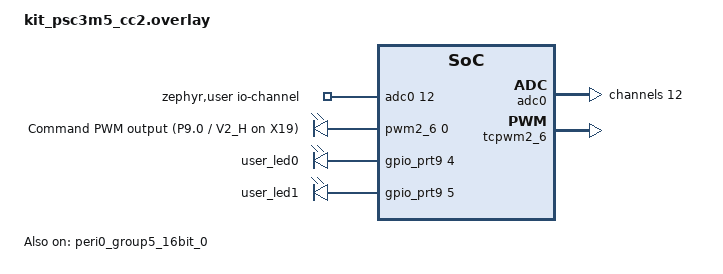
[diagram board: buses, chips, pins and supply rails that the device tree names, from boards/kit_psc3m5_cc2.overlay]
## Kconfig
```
# SPDX-License-Identifier: Apache-2.0
#
# PSOC Control CAN Command & Telemetry lab - node role select.
#
# Which role this build takes on is chosen by the EXTRA_CONF_FILE passed to
# `west build` (conf/role_command.conf or conf/role_telemetry.conf), not by
# editing this file directly.

mainmenu "PSOC Control CAN Command & Telemetry Lab"

choice LAB_ROLE
	prompt "CAN lab node role"
	default LAB_ROLE_COMMAND
	help
	  Board A ("Command node") reads the onboard potentiometer and
	  transmits the resulting setpoint over CAN. Board B ("Telemetry
	  node") receives the setpoint over CAN and mirrors it on its own
	  LED. Both roles run from the same skeleton; only the role Kconfig
	  fragment differs at build time.

config LAB_ROLE_COMMAND
	bool "Command node (potentiometer -> local LED + CAN TX)"

config LAB_ROLE_TELEMETRY
	bool "Telemetry node (CAN RX -> LED mirror)"

endchoice

source "Kconfig.zephyr"
```

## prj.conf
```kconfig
# SPDX-License-Identifier: Apache-2.0
#
# Baseline config - already enabled for you. You do not need to edit
# anything above the TODO line.

CONFIG_GPIO=y
CONFIG_CONSOLE=y
CONFIG_PRINTK=y
CONFIG_LOG=y
CONFIG_LOG_DEFAULT_LEVEL=3

# Give the CAN/ADC/PWM init and soft-PWM thread a little more stack margin.
CONFIG_MAIN_STACK_SIZE=2048

# CAN is already enabled here (not a touchpoint): the board's devicetree
# already turns the CAN controller on by default, and CAN is what makes the
# two boards talk to each other at all, so it's part of the working
# baseline you build on - not something you need to discover.
#
# Note that this skeleton will NOT build until you have completed Step 1
# (the devicetree overlay) and Step 2 (below). That is deliberate - you'll
# get a clear #error telling you which step is outstanding. To check your
# board, wiring and toolchain before you start, flash the pre-built
# reference binary your instructor provides.
CONFIG_CAN=y

# The onboard TLE9251V CAN transceiver's standby pin (P7.6) is modelled as a
# can-transceiver-gpio node in the board overlay. The Infineon GPIO driver
# initialises at CONFIG_KERNEL_INIT_PRIORITY_DEVICE (50) rather than the usual
# CONFIG_GPIO_INIT_PRIORITY (40), so the transceiver's default priority of 45
# would run before its own GPIO port is ready. Move it after the GPIO driver
# but still before the CAN controller (CONFIG_CAN_INIT_PRIORITY=80).
CONFIG_CAN_TRANSCEIVER_INIT_PRIORITY=55

# --------------------------------------------------------------------------
# TODO 2 (Module import touchpoint)
#
# This lab needs two more driver subsystems that are NOT enabled by
# default: the ADC subsystem (to read the onboard potentiometer) and the
# PWM subsystem (to drive the brightness/command output on mikroBUS 1).
# Uncomment the two lines below.
#
# Docs: every CONFIG_ symbol in the tree is searchable here - type ADC or
# PWM into the search box to see what each one turns on and what it
# depends on:
#   https://docs.zephyrproject.org/latest/kconfig.html
# How the build system uses these files:
#   https://docs.zephyrproject.org/latest/build/kconfig/index.html
# --------------------------------------------------------------------------

CONFIG_ADC=y
CONFIG_PWM=y
```

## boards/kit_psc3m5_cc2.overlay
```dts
/*
 * SPDX-License-Identifier: Apache-2.0
 *
 * PSOC Control CAN Command & Telemetry lab - devicetree overlay
 * (skeleton) for KIT_PSC3M5_CC2, the MCU card fitted to the
 * KIT_PSC3M5_MC1 motor-control kit.
 *
 * This overlay is shared by both roles (Command node and Telemetry node) -
 * the physical board is identical either way, only the application code
 * built on top of it differs.
 *
 * ---------------------------------------------------------------------
 * SAFETY - read this before running the lab on KIT_PSC3M5_CC2
 * ---------------------------------------------------------------------
 * The PWM output you enable in TODO 1c is on P9.0, which is schematic net
 * V2_H: the motor 2, phase V, high-side gate drive, brought out on Power
 * Board Connector X19. With no power board attached, X19 is just an access
 * header and the pin is safe to drive and to probe.
 *
 * NEVER run this lab with a motor-control power board fitted. The lab
 * would be commanding a gate driver.
 *
 * CAN is already enabled by default in this board's base devicetree
 * (kit_psc3m5_cc2-common.dtsi enables can1, and `zephyr,canbus` is already
 * chosen). This board also needs no CAN transceiver node at all - see the
 * note at the end of this file, which is worth reading. Your two devicetree
 * touchpoints in this lab are:
 *
 *   TODO 1a/1b: enable the onboard potentiometer's ADC channel.
 *   TODO 1c:    enable the PWM output used for the brightness command
 *               signal (pin P9.0, on connector X19).
 *
 * Reference: tests/drivers/adc/adc_api/boards/kit_psc3m5_cc2.overlay in the
 * Zephyr tree shows this board's ADC channels fully enabled, and the overlays
 * under samples/basic/fade_led/boards/ show how a PWM output is wired up on
 * other boards, if you get stuck.
 *
 * Docs: what an overlay is and why it exists
 *   https://docs.zephyrproject.org/latest/build/dts/intro.html
 * Every property you can legally set on a node is defined by its binding,
 * and all of the in-tree bindings are published here - searching this page
 * for a `compatible` string is the fastest way to answer "what goes in
 * this node?":
 *   https://docs.zephyrproject.org/latest/build/dts/api/bindings.html
 */

#include <zephyr/dt-bindings/adc/adc.h>
#include <zephyr/dt-bindings/gpio/gpio.h>
#include <zephyr/dt-bindings/pwm/pwm.h>
#include <zephyr/dt-bindings/pwm/pwm_ifx_tcpwm.h>

/ {
	/*
	 * TODO 1a: Uncomment the io-channels property below so the
	 * application can request the potentiometer channel by name. POT1 is
	 * wired to HPPASS SAR ADC channel 12 (this is "CYBSP_POT" in the
	 * ModusToolbox BSP for this board). The second pot, POT2, is on
	 * channel 16 and is not used by this lab.
	 *
	 * Docs: how `io-channels` ties an application to an ADC channel, and
	 * what ADC_DT_SPEC_GET() does with it:
	 *   https://docs.zephyrproject.org/latest/hardware/peripherals/adc.html
	 */
	zephyr,user {
		io-channels = <&adc0 12>;
	};

	aliases {
		/*
		 * TODO 1c (cont'd): alias the PWM LED node below so the
		 * application's DT_ALIAS(cmd_pwm) resolves.
		 */
		cmd-pwm = &pwm_cmd;
	};

	/*
	 * This PWM does not reach an on-board LED on this board. The user
	 * LEDs are on P9.4/P9.5, whose only non-GPIO routes are SCB0 SPI
	 * selects, so there is no TCPWM path to them. Probe P9.0 on X19, or
	 * hang a 2-pin LED harness off it. The on-board LED in this lab is
	 * driven by software PWM instead.
	 */
	pwmleds {
		compatible = "pwm-leds";

		pwm_cmd: pwm_cmd_led {
			label = "Command PWM output (P9.0 / V2_H on X19)";
			pwms = <&pwm2_6 0 PWM_USEC(1000) PWM_POLARITY_NORMAL>;
		};
	};
};

/*
 * PROVIDED - not a TODO, nothing to uncomment here.
 *
 * The board devicetree declares both user LEDs GPIO_ACTIVE_LOW. On the
 * KIT_PSC3M5_CC2 cards used for this lab they light on a HIGH output, so
 * every logical "on" reached the LED as "off". The visible symptom was the
 * brightness LED tracking the knob backwards and sitting lit with the knob
 * at zero.
 *
 * Correcting the polarity here rather than compensating in C keeps
 * gpio_pin_set_dt(..., 1) meaning "lit" everywhere in the application, and
 * fixes the CAN activity LED at the same time.
 */
&user_led0 {
	gpios = <&gpio_prt9 4 GPIO_ACTIVE_HIGH>;
};

&user_led1 {
	gpios = <&gpio_prt9 5 GPIO_ACTIVE_HIGH>;
};

&adc0 {
	/*
	 * TODO 1a (cont'd): enable the HPPASS SAR ADC controller itself.
	 */
	status = "okay";
	#address-cells = <1>;
	#size-cells = <0>;

	/*
	 * TODO 1b: describe ADC channel 12 (12-bit resolution, internal
	 * reference, default acquisition time). Uncomment the block below.
	 *
	 * Docs: the `zephyr,gain` / `zephyr,reference` / `zephyr,resolution`
	 * properties are generic ADC channel properties, explained here:
	 *   https://docs.zephyrproject.org/latest/hardware/peripherals/adc.html
	 */
	channel@c {
		reg = <12>;
		zephyr,acquisition-time = <ADC_ACQ_TIME_DEFAULT>;
		zephyr,gain = "ADC_GAIN_1";
		zephyr,reference = "ADC_REF_INTERNAL";
		zephyr,resolution = <12>;
	};
};

&tcpwm2_6 {
	/*
	 * TODO 1c (cont'd): enable this TCPWM instance and its pwm2_6
	 * child, and route it out to pin P9.0 (connector X19).
	 *
	 * P9.0 was chosen because it is one of the few free pins on this
	 * board with a direct TCPWM route - P9_0_TCPWM0_LINE518 is HSIOM
	 * option 10, so no PERI trigger mux is needed. The obvious
	 * alternative, the mikroBUS PWM pin (P0.1), has no TCPWM option at
	 * all.
	 *
	 * Docs: the PWM subsystem and its devicetree model
	 *   https://docs.zephyrproject.org/latest/hardware/peripherals/pwm.html
	 */
	status = "okay";

	pwm2_6: pwm2_6 {
		status = "okay";
		clocks = <&peri0_group5_16bit_0>;
		pinctrl-0 = <&p9_0_pwm2_6>;
		pinctrl-names = "default";
	};
};

/*
 * Provided for you - not a lab task.
 *
 * tcpwm2_6 sits in peripheral group 5. The divider is shared with &csg0,
 * which the board dtsi sets to 2.
 *
 * 240 divides the 240 MHz peripheral clock to a 1 MHz counter, giving the
 * 1 kHz PWM above exactly 1000 brightness steps.
 *
 * This replaces an earlier 9600 (25 kHz counter, 50 Hz PWM). 50 Hz was slow
 * enough to see: measured on hardware 2026-10-02, the output flashed brightly
 * whenever the duty cycle changed quickly, because one disturbed period lasts
 * a full 20 ms. The TCPWM itself was cleared of blame first - CC0 and CC0_BUFF
 * tracked every request exactly and the counter was never restarted - so the
 * fix is the frequency, not the driver. At 1 kHz the same fade is smooth. */
&peri0_group5_16bit_0 {
	status = "okay";
	clock-div = <240>;
};

&pinctrl {
	p9_0_pwm2_6: p9_0_pwm2_6 {
		drive-push-pull;
	};
};

/* P9.0 (the PWM output) and P9.4/P9.5 (the user LEDs). */
&gpio_prt9 {
	status = "okay";
};

/*
 * Provided for you - not a lab task, but worth understanding.
 *
 * There is deliberately no `phys` property on &can1 and no transceiver node
 * anywhere in this file. That is a property of this board, not an omission.
 *
 * The CAN front end here is galvanically isolated, so the signal passes
 * through one more link than it would on a non-isolated board:
 *
 *   P6.3 CAN1_TX --> INA  ==||== OUTA --> TXD --+ TLE9371VSJ +-- CANH
 *   P6.2 CAN1_RX <-- OUTB ==||== INB  <-- RXD --+  STB = GND +-- CANL
 *                     2DIB1400F
 *                  dual digital isolator
 *
 * The TLE9371VSJ STB (standby) pin is tied directly to the isolated ground.
 * STB is active high, so the transceiver is permanently in normal mode and
 * there is nothing for software to enable. Adding a can-transceiver-gpio
 * node here would be describing hardware that does not exist.
 *
 * On many other boards the same transceiver part has its STB pin wired to a
 * GPIO with an internal pull-up and nothing releasing it. Those boards do
 * need a can-transceiver-gpio node - without one they go bus-off about a
 * millisecond after boot, with the error counters still reading zero. Same
 * silicon, same driver, different overlay: this is why devicetree describes
 * the board rather than the chip.
 */
```

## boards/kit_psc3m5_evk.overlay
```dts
/*
 * SPDX-License-Identifier: Apache-2.0
 *
 * PSOC Control CAN Command & Telemetry lab - devicetree overlay
 * (skeleton).
 *
 * This overlay is shared by both roles (Command node and Telemetry node) -
 * the physical board is identical either way, only the application code
 * built on top of it differs.
 *
 * CAN is already enabled by default in this board's base devicetree
 * (kit_psc3m5_evk-common.dtsi enables canfd0/can1, and `zephyr,canbus` is
 * already chosen). The `can_phy` node below is provided for you - it works
 * around a gap in the board support package (see the comment on that node).
 * Your two devicetree touchpoints in this lab are:
 *
 *   TODO 1a/1b: enable the onboard potentiometer's ADC channel.
 *   TODO 1c:    enable the PWM output used for the brightness command
 *               signal (mikroBUS header 1 / pin P4.0).
 *
 * Reference: samples/drivers/adc/adc_dt/boards/kit_psc3m5_evk.overlay and
 * samples/basic/fade_led/boards/kit_psc3m5_evk.overlay in the ifx-zephyr
 * tree show the same nodes fully enabled, if you get stuck.
 *
 * Docs: what an overlay is and why it exists
 *   https://docs.zephyrproject.org/latest/build/dts/intro.html
 * Every property you can legally set on a node is defined by its binding,
 * and all of the in-tree bindings are published here - searching this page
 * for a `compatible` string is the fastest way to answer "what goes in
 * this node?":
 *   https://docs.zephyrproject.org/latest/build/dts/api/bindings.html
 */

#include <zephyr/dt-bindings/adc/adc.h>
#include <zephyr/dt-bindings/gpio/gpio.h>
#include <zephyr/dt-bindings/pwm/pwm.h>
#include <zephyr/dt-bindings/pwm/pwm_ifx_tcpwm.h>

/ {
	/*
	 * TODO 1a: Uncomment the io-channels property below so the
	 * application can request the potentiometer channel by name. The
	 * onboard potentiometer is wired to HPPASS SAR ADC channel 12
	 * (this is "CYBSP_POT" in the ModusToolbox BSP for this board).
	 *
	 * Docs: how `io-channels` ties an application to an ADC channel, and
	 * what ADC_DT_SPEC_GET() does with it:
	 *   https://docs.zephyrproject.org/latest/hardware/peripherals/adc.html
	 */
	zephyr,user {
		io-channels = <&adc0 12>;
	};

	aliases {
		/*
		 * TODO 1c (cont'd): alias the PWM LED node below so the
		 * application's DT_ALIAS(cmd_pwm) resolves.
		 */
		cmd-pwm = &pwm_cmd;
	};

	/*
	 * Provided for you - not a lab task.
	 *
	 * The CAN screw terminals are fed by an onboard TLE9251VLEXUMA1
	 * transceiver whose STB (standby) pin is on P7.6. STB has an internal
	 * pull-up, so the transceiver powers up in STANDBY with its
	 * transmitter disabled - the node cannot even acknowledge frames.
	 * The upstream board devicetree does not model the transceiver, so
	 * without this node nothing releases STB, every transmission goes
	 * unacknowledged, and the controller is driven bus-off within about
	 * a millisecond (can_send() returns -ENETUNREACH).
	 *
	 * Modelling it here lets Zephyr's CAN core drive STB low on
	 * can_start() and release it on can_stop().
	 */
	can_phy: can-phy {
		compatible = "can-transceiver-gpio";
		standby-gpios = <&gpio_prt7 6 GPIO_ACTIVE_HIGH>;
		max-bitrate = <5000000>;
		#phy-cells = <0>;
	};

	pwmleds {
		compatible = "pwm-leds";

		pwm_cmd: pwm_cmd_led {
			label = "Command PWM output (mikroBUS 1 / P4.0)";
			pwms = <&pwm1_4 0 PWM_USEC(1000) PWM_POLARITY_NORMAL>;
		};
	};
};

&adc0 {
	/*
	 * TODO 1a (cont'd): enable the HPPASS SAR ADC controller itself.
	 */
	status = "okay";
	#address-cells = <1>;
	#size-cells = <0>;

	/*
	 * TODO 1b: describe ADC channel 12 (12-bit resolution, internal
	 * reference, default acquisition time). Uncomment the block below.
	 *
	 * Docs: the `zephyr,gain` / `zephyr,reference` / `zephyr,resolution`
	 * properties are generic ADC channel properties, explained here:
	 *   https://docs.zephyrproject.org/latest/hardware/peripherals/adc.html
	 */
	channel@c {
		reg = <12>;
		zephyr,acquisition-time = <ADC_ACQ_TIME_DEFAULT>;
		zephyr,gain = "ADC_GAIN_1";
		zephyr,reference = "ADC_REF_INTERNAL";
		zephyr,resolution = <12>;
	};
};

&tcpwm1_4 {
	/*
	 * TODO 1c (cont'd): enable this TCPWM instance and its pwm1_4
	 * child, and route it out to pin P4.0 (mikroBUS header 1).
	 *
	 * Docs: the PWM subsystem and its devicetree model
	 *   https://docs.zephyrproject.org/latest/hardware/peripherals/pwm.html
	 */
	status = "okay";

	pwm1_4: pwm1_4 {
		status = "okay";
		clocks = <&peri0_group5_16bit_0>;
		pinctrl-0 = <&p4_0_pwm1_4>;
		pinctrl-names = "default";
	};
};

/*
 * The divider is shared with &csg0, which the board dtsi sets to 2. 240
 * divides the 240 MHz peripheral clock to a 1 MHz counter, giving the 1 kHz
 * PWM above exactly 1000 brightness steps.
 *
 * This replaces an earlier 9600 (25 kHz counter, 50 Hz PWM). 50 Hz was slow
 * enough to see: measured on KIT_PSC3M5_CC2 2026-10-02, the output flashed
 * brightly whenever the duty cycle changed quickly, because one disturbed
 * period lasts a full 20 ms. The TCPWM itself was cleared of blame first -
 * CC0 and CC0_BUFF tracked every request exactly and the counter was never
 * restarted - so the fix is the frequency, not the driver. Both boards use
 * the same group 5 divider, so both carry the same change.
 */
&peri0_group5_16bit_0 {	status = "okay";
	clock-div = <240>;
};

&pinctrl {
	p4_0_pwm1_4: p4_0_pwm1_4 {
		drive-push-pull;
	};
};

&gpio_prt4 {
	status = "okay";
};

/* Required so the transceiver's STB pin (P7.6) can be driven. */
&gpio_prt7 {
	status = "okay";
};

&can1 {
	phys = <&can_phy>;
};
```

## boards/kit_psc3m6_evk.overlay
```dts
/*
 * SPDX-License-Identifier: Apache-2.0
 *
 * PSOC Control CAN Command & Telemetry lab - devicetree overlay
 * (skeleton) for KIT_PSC3M6_EVAL (PSOC Control C3M6 Evaluation Kit).
 *
 * This overlay is shared by both roles (Command node and Telemetry node) -
 * the physical board is identical either way, only the application code
 * built on top of it differs.
 *
 * The board devicetree already describes the hardware this lab drives:
 *
 *   - CAN FD on canfd0/can1 (P5.2 RX, P5.3 TX), with a can-transceiver-gpio
 *     node (can_phy0, standby on P12.5) and `zephyr,canbus` already chosen.
 *     Nothing in this file touches CAN.
 *   - The on-board potentiometer as SAR ADC channel 12 on AN_B4, including
 *     gain, reference, resolution and acquisition time.
 *   - A hardware PWM output on P5.0 (tcpwm0_6 / pwm0_6), with its peripheral
 *     clock divider and push-pull pinctrl.
 *
 * Your job is to nominate which of those this application consumes. A board
 * describes what exists; an overlay says what your application uses.
 *
 *   TODO 1a: claim the potentiometer's ADC channel for the application.
 *   TODO 1b: expose the PWM output as something the application can open
 *            by name.
 *
 * Reference: the overlays under samples/basic/fade_led/boards/ in the Zephyr
 * tree show how a PWM output is named and consumed on other boards, and
 * tests/drivers/adc/adc_api/boards/ shows ADC channels being claimed.
 *
 * Docs: what an overlay is and why it exists
 *   https://docs.zephyrproject.org/latest/build/dts/intro.html
 * Every property you can legally set on a node is defined by its binding,
 * and all of the in-tree bindings are published here - searching this page
 * for a `compatible` string is the fastest way to answer "what goes in
 * this node?":
 *   https://docs.zephyrproject.org/latest/build/dts/api/bindings.html
 */

#include <zephyr/dt-bindings/pwm/pwm.h>

/ {
	/*
	 * TODO 1a: Uncomment the io-channels property below so the
	 * application can request the potentiometer channel by name. The pot
	 * is SAR ADC channel 12, on AN_B4 - the first input of mux sampler 0.
	 *
	 * Docs: how `io-channels` ties an application to an ADC channel, and
	 * what ADC_DT_SPEC_GET() does with it:
	 *   https://docs.zephyrproject.org/latest/hardware/peripherals/adc.html
	 */
	zephyr,user {
		io-channels = <&adc0 12>;
	};

	aliases {
		/*
		 * TODO 1b (cont'd): alias the PWM LED node below so the
		 * application's DT_ALIAS(cmd_pwm) resolves.
		 */
		cmd-pwm = &pwm_cmd;
	};

	/*
	 * The output is P5.0, brought out on header J21 pin 11, next to the
	 * CAN pins (P5.2/P5.3). It is an ordinary signal pin, safe to probe
	 * or to drive a 2-pin LED harness (GND is on J21 pin 2).
	 *
	 * The on-board LED this lab mirrors the setpoint on is driven
	 * separately, in software - the user LEDs on P8.4/P8.5 have no TCPWM
	 * route in this package.
	 */
	pwmleds {
		compatible = "pwm-leds";

		pwm_cmd: pwm_cmd_led {
			label = "Command PWM output (P5.0)";
			pwms = <&pwm0_6 0 PWM_USEC(1000) PWM_POLARITY_NORMAL>;
		};
	};
};
```

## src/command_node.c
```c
/*
 * SPDX-License-Identifier: Apache-2.0
 *
 * PSOC Control CAN Command & Telemetry lab - Board A "Command node".
 *
 * Reads the on-board potentiometer, turns it into a 0-255 setpoint, shows
 * that setpoint locally as LED brightness, and transmits it over CAN so the
 * paired "Telemetry node" board can mirror it.
 *
 * CHEAT TIER. This is can-lab-advanced/ with every TODO already filled
 * in. The TODO comments are left in place so each instruction sits next
 * to its answer - so this still reads as a lab, not just as source.
 *
 * Use it if you are blocking your partner and would rather read working
 * code than write it, or to check your own work against. Read the TODO
 * above each block before the code under it; that ordering is the point.
 *
 * A note on style: this lab deliberately omits return-code checks on calls
 * that cannot realistically fail on a known-good board (can_set_bitrate(),
 * can_set_mode(), can_start()), so the code stays readable inside a
 * 60-minute session. The checks that are kept are the ones that catch real
 * mistakes: device_is_ready(), and the can_send() result - which is how you
 * find out the other board is not wired up yet. The reference solution
 * checks every call, and that is the pattern to use in production code.
 *
 * Where these APIs come from
 * --------------------------
 * Every driver call below is part of a published, versioned Zephyr API, and
 * it is worth knowing that the docs show you two different views of it:
 *
 *   What you call        The functions and structs your application uses -
 *                        can_send(), struct can_frame, and so on:
 *                        https://docs.zephyrproject.org/latest/doxygen/html/group__can__interface.html
 *
 *   What a driver        The table of function pointers each vendor driver
 *   implements           fills in behind those calls:
 *                        https://docs.zephyrproject.org/latest/doxygen/html/structcan__driver__api.html
 *
 * That split is the whole point: your can_send() works against the PSOC
 * Control CAN FD controller here, and unchanged against any other Zephyr
 * target, because the application talks to the generic API and the vendor
 * driver supplies the implementation. Swapping silicon does not rewrite
 * this file.
 *
 * Each TODO below ends with a "Docs:" line pointing at the page for the
 * calls that step needs.
 */

#include <zephyr/kernel.h>
#include <zephyr/device.h>
#include <zephyr/devicetree.h>
#include <zephyr/drivers/gpio.h>
#include <zephyr/drivers/adc.h>
#include <zephyr/drivers/can.h>
#include <zephyr/logging/log.h>

#include "can_protocol.h"
#include "lab_led.h"

LOG_MODULE_REGISTER(command_node, LOG_LEVEL_INF);

#define SAMPLE_PERIOD_MS 50
#define CAN_BITRATE      500000

#if !DT_NODE_HAS_PROP(DT_PATH(zephyr_user), io_channels)
#error "No ADC channel on /zephyr,user. Complete Step 1 (your board's overlay in boards/, TODO 1a) before building - see the lab guide."
#endif

/* Alias led1 - P8.5, silkscreen LED4, blue - the bus-state indicator.
 *
 * Lit means the CAN controller is no longer error-active: either
 * error-passive or bus-off. That makes the lab's central failure mode
 * physical - a node alone on the bus lands here within a second or two,
 * and the LED says so without the console. Note the board silkscreen
 * counts from one while the devicetree aliases count from zero. Provided.
 */
static const struct gpio_dt_spec bus_led = GPIO_DT_SPEC_GET(DT_ALIAS(led1), gpios);

/* Provided. Runs in driver context, so it does nothing but set a pin. */
static void bus_state_cb(const struct device *dev, enum can_state state,
			 struct can_bus_err_cnt err_cnt, void *user_data)
{
	ARG_UNUSED(dev);
	ARG_UNUSED(err_cnt);
	ARG_UNUSED(user_data);

	gpio_pin_set_dt(&bus_led, state == CAN_STATE_ERROR_ACTIVE ? 1 : 0);
}

/* The potentiometer's ADC channel, described by the overlay you edited in
 * Step 1. Provided.
 */
static const struct adc_dt_spec pot_adc = ADC_DT_SPEC_GET(DT_PATH(zephyr_user));

/* The CAN controller, picked up from the board's `zephyr,canbus` chosen
 * node. Provided.
 */
static const struct device *const can_dev = DEVICE_DT_GET(DT_CHOSEN(zephyr_canbus));

static uint8_t read_setpoint(void)
{
	int16_t sample = 0;
	struct adc_sequence seq = {
		.buffer = &sample,
		.buffer_size = sizeof(sample),
	};

	/* Fill in the rest of `seq` (resolution, channel mask, ...) from the
	 * devicetree description. Provided.
	 */
	(void)adc_sequence_init_dt(&pot_adc, &seq);

	/*
	 * TODO 3b: take one reading from the potentiometer and turn it into
	 * a 0-255 setpoint.
	 *
	 *   1. Read a single sample with the ADC read call that takes a
	 *      devicetree spec and a sequence - pot_adc and the seq you just
	 *      initialised. It returns 0 on success; if it fails, return 128
	 *      so the LED sits at mid-scale rather than going dark.
	 *   2. The result lands in `sample` as a 12-bit value (0-4095).
	 *      Scale it down to 8 bits (0-255) and return it.
	 *
	 * Hint for the scaling: 12 bits is 4 more bits than 8 bits, and
	 * shifting a value right by one bit halves it.
	 *
	 * Docs: adc_read_dt() and friends
	 *   https://docs.zephyrproject.org/latest/doxygen/html/group__adc__interface.html
	 * The `seq` struct filled in above:
	 *   https://docs.zephyrproject.org/latest/doxygen/html/structadc__sequence.html
	 */

	if (adc_read_dt(&pot_adc, &seq) != 0) {
		return 128;
	}

	return (uint8_t)(sample >> 4);
}

/*
 * Handed to can_send() so that transmission is fire-and-forget. We do not
 * need the result here, but passing *something* matters: with a NULL
 * callback, can_send() blocks until the frame is acknowledged, and a node
 * that is alone on the bus is never acknowledged - the application would
 * deadlock on the very first send. Provided.
 */
static void tx_done_cb(const struct device *dev, int error, void *user_data)
{
	ARG_UNUSED(dev);
	ARG_UNUSED(error);
	ARG_UNUSED(user_data);
}

static void send_setpoint(uint8_t setpoint)
{
	/*
	 * TODO 3c: put `setpoint` on the wire.
	 *
	 *   1. Declare a `struct can_frame` and fill in three fields: the
	 *      frame ID and the data length code both come from
	 *      can_protocol.h (CAN_ID_SETPOINT and CAN_DLC_SETPOINT), and
	 *      the setpoint itself goes in the first data byte.
	 *   2. Transmit it with the CAN send call. It takes the device, your
	 *      frame, a timeout, a completion callback and a user-data
	 *      pointer. Pass K_NO_WAIT for the timeout, tx_done_cb - the
	 *      empty function provided just above - for the callback, and
	 *      NULL for the user data.
	 *
	 *      Do NOT pass NULL in place of the callback: a NULL callback
	 *      makes the send wait until somebody acknowledges the frame,
	 *      and nobody will until your partner's board is wired up - the
	 *      program would stop dead right here.
	 *   3. The send call returns non-zero when the frame could not be
	 *      queued, normally because the second board is not powered or
	 *      wired yet. Warn on that - but only when the state *changes*.
	 *      This function runs 20 times a second, so an unconditional
	 *      LOG_WRN buries everything else in the console. A
	 *      `static bool warned;` is all you need: warn on the first
	 *      failure, and log recovery on the first success afterwards.
	 *
	 * Docs: can_send() and the rest of the CAN API
	 *   https://docs.zephyrproject.org/latest/doxygen/html/group__can__interface.html
	 * The frame you are filling in, field by field:
	 *   https://docs.zephyrproject.org/latest/doxygen/html/structcan__frame.html
	 */
	struct can_frame frame = {
		.id = CAN_ID_SETPOINT,
		.dlc = CAN_DLC_SETPOINT,
		.data = {setpoint},
	};

	static bool warned;

	if (can_send(can_dev, &frame, K_NO_WAIT, tx_done_cb, NULL) != 0) {
		if (!warned) {
			warned = true;
			LOG_WRN("CAN send failed - is the second board powered and wired?");
		}
	} else if (warned) {
		warned = false;
		LOG_INF("CAN send recovered - partner board is on the bus");
	}
}

void run_command_node(void)
{
	LOG_INF("Command node starting (PSOC Control CAN lab)");

	/* Provided: the bus-state LED and the brightness output. */
	gpio_pin_configure_dt(&bus_led, GPIO_OUTPUT_INACTIVE);
	lab_led_init();

	/*
	 * TODO 3a: bring up the CAN controller. Five calls, in this order:
	 *
	 *   1. Check the driver initialised, using the generic
	 *      device_is_ready() helper with the CAN device handle can_dev.
	 *      It returns false if the driver did not come up - log an error
	 *      with LOG_ERR() and return if so.
	 *   2. Set the bitrate to CAN_BITRATE.
	 *   3. Set the mode to CAN_MODE_NORMAL.
	 *   4. Register bus_state_cb (declared above) as the state-change
	 *      callback, passing NULL as its user data. This must come before
	 *      the controller starts, so that the very first transition out
	 *      of error-active is reported.
	 *   5. Start the controller.
	 *
	 * Steps 2-5 are four separate CAN API calls, each taking can_dev as
	 * their first argument. Find their names in the docs below.
	 *
	 * Both boards must use the same bitrate or they will not talk to
	 * each other.
	 *
	 * Docs: can_set_bitrate(), can_set_mode(),
	 *       can_set_state_change_callback(), can_start()
	 *   https://docs.zephyrproject.org/latest/doxygen/html/group__can__interface.html
	 * What a CAN controller is doing underneath:
	 *   https://docs.zephyrproject.org/latest/hardware/peripherals/can/controller.html
	 */

	if (!device_is_ready(can_dev)) {
		LOG_ERR("CAN device not ready");
		return;
	}

	can_set_bitrate(can_dev, CAN_BITRATE);
	can_set_mode(can_dev, CAN_MODE_NORMAL);
	can_set_state_change_callback(can_dev, bus_state_cb, NULL);
	can_start(can_dev);

	/* Provided: the state-change callback only fires on a transition,
	 * and starting on a healthy bus is not one, so seed the LED from
	 * the current state. This runs after your TODO 3a code.
	 */
	{
		enum can_state state = CAN_STATE_ERROR_ACTIVE;

		(void)can_get_state(can_dev, &state, NULL);
		gpio_pin_set_dt(&bus_led, state == CAN_STATE_ERROR_ACTIVE ? 1 : 0);
	}


	/*
	 * TODO 3d: the ADC channel needs configuring once before it can be
	 * read. One call - the devicetree-spec form of the ADC channel setup
	 * function, passing the pot_adc spec declared at the top of this
	 * file. It belongs here, before the loop, not inside it.
	 *
	 * Docs: adc_channel_setup_dt() takes the `struct adc_dt_spec` that
	 * ADC_DT_SPEC_GET() built from your overlay:
	 *   https://docs.zephyrproject.org/latest/doxygen/html/structadc__dt__spec.html
	 *   https://docs.zephyrproject.org/latest/doxygen/html/group__adc__interface.html
	 */

	adc_channel_setup_dt(&pot_adc);

	while (1) {
		uint8_t setpoint = read_setpoint();

		/* Print the setpoint about twice a second. Until TODO 3b is
		 * done this stays pinned at 128, which is a quick way to
		 * check whether your ADC code is working. Provided.
		 */
		static uint32_t tick;

		if ((tick++ % (500U / SAMPLE_PERIOD_MS)) == 0U) {
			LOG_INF("setpoint %3u (%u%%)", setpoint,
				(setpoint * 100U) / 255U);
		}

		/* Local brightness feedback, so you can see the knob working
		 * before CAN is involved at all.
		 */
		lab_led_set_duty(setpoint);

		send_setpoint(setpoint);

		k_msleep(SAMPLE_PERIOD_MS);
	}
}
```

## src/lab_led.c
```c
/*
 * SPDX-License-Identifier: Apache-2.0
 *
 * PSOC Control CAN Command & Telemetry lab - brightness output.
 *
 * PROVIDED HELPER - not a lab touchpoint. Your code calls lab_led_init()
 * once and lab_led_set_duty() whenever the setpoint changes; you do not
 * need to read or change anything in this file.
 *
 * One duty value, two outputs:
 *
 *   1. The user LED on P8.4 - silkscreen LED3, yellow, devicetree alias
 *      led0 - bit-banged from a dedicated thread. Neither on-board user
 *      LED has a TCPWM option in its HSIOM pin-mux table, so a real PWM
 *      signal cannot be routed to them directly - hence the software PWM.
 *   2. The hardware PWM channel on P5.0, brought out on header J21 pin 11.
 *      Nothing on the board lights up from this one, but the signal is
 *      genuinely there if you want to put a scope on it. This is why the
 *      lab has you enable the PWM nodes in devicetree and CONFIG_PWM in
 *      prj.conf.
 *
 * Implementation note, in case you are curious: the ON pulse is timed with
 * k_busy_wait() so brightness is smooth regardless of the kernel tick rate,
 * but the OFF phase uses k_sleep() so the thread actually blocks.
 * k_busy_wait() spins without yielding, so a thread that only ever
 * busy-waits starves every lower-priority thread - including the logging
 * thread, which silently costs you all console output, boot banner and all.
 */

#include "lab_led.h"

#include <zephyr/kernel.h>
#include <zephyr/device.h>
#include <zephyr/devicetree.h>
#include <zephyr/drivers/gpio.h>
#include <zephyr/drivers/pwm.h>
#include <zephyr/sys/atomic.h>
#include <zephyr/sys/util.h>

#if !DT_NODE_EXISTS(DT_ALIAS(cmd_pwm))
#error "No 'cmd-pwm' devicetree alias. Complete Step 1 (your board's overlay in boards/, TODO 1b) before building - see the lab guide."
#endif

#if !defined(CONFIG_PWM)
#error "CONFIG_PWM is not enabled. Complete Step 2 (prj.conf, TODO 2) before building - see the lab guide."
#endif

#define SOFT_PWM_PERIOD_USEC 2000U /* 500 Hz - smooth to the eye, no flicker */
#define SOFT_PWM_STACK_SIZE  512
#define SOFT_PWM_THREAD_PRIO 7

/* Guarantees the thread blocks at least once per period even at full
 * brightness. Caps usable duty just under 100%, which the eye cannot see.
 */
#define SOFT_PWM_MIN_SLEEP_USEC 50U

static const struct gpio_dt_spec led0 = GPIO_DT_SPEC_GET(DT_ALIAS(led0), gpios);
static const struct pwm_dt_spec cmd_pwm = PWM_DT_SPEC_GET(DT_ALIAS(cmd_pwm));
static atomic_t duty_atomic;

static void soft_pwm_thread(void *a, void *b, void *c)
{
	ARG_UNUSED(a);
	ARG_UNUSED(b);
	ARG_UNUSED(c);

	while (1) {
		uint8_t duty = (uint8_t)atomic_get(&duty_atomic);
		uint32_t on_us = (SOFT_PWM_PERIOD_USEC * duty) / 255U;
		uint32_t off_us = SOFT_PWM_PERIOD_USEC - on_us;

		/* Both extremes are steady states, not pulse trains. Sending
		 * them round the pulse loop below would leave a sliver of the
		 * opposite level at one end, because the off phase can never
		 * be shorter than SOFT_PWM_MIN_SLEEP_USEC - so "off" would
		 * never quite extinguish.
		 */
		if (duty == 0U) {
			gpio_pin_set_dt(&led0, 0);
			k_sleep(K_MSEC(5));
			continue;
		}

		if (duty == UINT8_MAX) {
			gpio_pin_set_dt(&led0, 1);
			k_sleep(K_MSEC(5));
			continue;
		}

		gpio_pin_set_dt(&led0, 1);
		k_busy_wait(on_us);

		gpio_pin_set_dt(&led0, 0);
		k_sleep(K_USEC(MAX(off_us, SOFT_PWM_MIN_SLEEP_USEC)));
	}
}

K_THREAD_DEFINE(soft_pwm_tid, SOFT_PWM_STACK_SIZE, soft_pwm_thread, NULL, NULL, NULL,
		 K_PRIO_PREEMPT(SOFT_PWM_THREAD_PRIO), 0, 0);

void lab_led_init(void)
{
	atomic_set(&duty_atomic, 0);
	gpio_pin_configure_dt(&led0, GPIO_OUTPUT_INACTIVE);
}

void lab_led_set_duty(uint8_t duty_0_255)
{
	atomic_set(&duty_atomic, duty_0_255);

	/* Same duty on the real hardware PWM pin (P5.0). */
	(void)pwm_set_pulse_dt(&cmd_pwm,
			       (uint32_t)((uint64_t)cmd_pwm.period * duty_0_255 / 255U));
}
```

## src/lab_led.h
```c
/*
 * SPDX-License-Identifier: Apache-2.0
 *
 * PSOC Control CAN Command & Telemetry lab - brightness output.
 *
 * PROVIDED HELPER - not a lab touchpoint. See lab_led.c if you are curious
 * about how it works; you only need these two calls.
 */

#ifndef PSOC_CONTROL_CAN_LAB_LAB_LED_H_
#define PSOC_CONTROL_CAN_LAB_LAB_LED_H_

#include <stdint.h>

/* Bring up the brightness output. Call once, before the main loop. */
void lab_led_init(void);

/*
 * Set the brightness, 0 (off) to 255 (fully on).
 *
 * Drives both the user LED on P8.4 (silkscreen LED3, alias led0) and the
 * hardware PWM pin P5.0.
 */
void lab_led_set_duty(uint8_t duty_0_255);

#endif /* PSOC_CONTROL_CAN_LAB_LAB_LED_H_ */
```

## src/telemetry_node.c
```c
/*
 * SPDX-License-Identifier: Apache-2.0
 *
 * PSOC Control CAN Command & Telemetry lab - Board B "Telemetry node".
 *
 * Receives the setpoint the paired "Command node" board sends over CAN and
 * mirrors it on the local LED - "command sent over the wire, remote node
 * responds."
 *
 * CHEAT TIER. This is can-lab-advanced/ with every TODO already filled
 * in. The TODO comments are left in place so each instruction sits next
 * to its answer - so this still reads as a lab, not just as source.
 *
 * Use it if you are blocking your partner and would rather read working
 * code than write it, or to check your own work against. Read the TODO
 * above each block before the code under it; that ordering is the point.
 *
 * A note on style: this lab deliberately omits return-code checks on calls
 * that cannot realistically fail on a known-good board (can_set_bitrate(),
 * can_set_mode(), can_start()), so the code stays readable inside a
 * 60-minute session. The checks that are kept are the ones that catch real
 * mistakes - device_is_ready(), and the receive timeout below, which is how
 * you find out the other board is not wired up yet. The reference solution
 * checks every call, and that is the pattern to use in production code.
 *
 * Where these APIs come from
 * --------------------------
 * Every driver call below is part of a published, versioned Zephyr API, and
 * it is worth knowing that the docs show you two different views of it:
 *
 *   What you call        The functions and structs your application uses -
 *                        can_add_rx_filter_msgq(), struct can_frame, and
 *                        so on:
 *                        https://docs.zephyrproject.org/latest/doxygen/html/group__can__interface.html
 *
 *   What a driver        The table of function pointers each vendor driver
 *   implements           fills in behind those calls:
 *                        https://docs.zephyrproject.org/latest/doxygen/html/structcan__driver__api.html
 *
 * That split is the whole point: this code works against the PSOC Control
 * CAN FD controller here, and unchanged against any other Zephyr target,
 * because the application talks to the generic API and the vendor driver
 * supplies the implementation. Swapping silicon does not rewrite this file.
 *
 * Each TODO below ends with a "Docs:" line pointing at the page for the
 * calls that step needs.
 */

#include <zephyr/kernel.h>
#include <zephyr/device.h>
#include <zephyr/devicetree.h>
#include <zephyr/drivers/gpio.h>
#include <zephyr/drivers/can.h>
#include <zephyr/logging/log.h>

#include "can_protocol.h"
#include "lab_led.h"

LOG_MODULE_REGISTER(telemetry_node, LOG_LEVEL_INF);

#define CAN_BITRATE 500000
#define RX_TIMEOUT  K_MSEC(500)

/* Half-period of the receive heartbeat, so the LED blinks at about 1 Hz. */
#define ACTIVITY_BLINK_MS 500

/* Alias led1 - P8.5, silkscreen LED4, blue - the receive-activity indicator.
 *
 * Blinking at about 1 Hz means setpoint frames are arriving; dark means they
 * have stopped. The board silkscreen counts from one, the devicetree aliases
 * count from zero. Provided.
 *
 * Note that the command node drives this same LED from a different signal:
 * the CAN controller's error state. That is deliberate, not an oversight.
 * Error state tells a receiver almost nothing - a node that only receives
 * never transmits, so it never collects transmit errors, and pulling the bus
 * wires leaves it error-active with the LED stuck on. Blinking on reception
 * is the honest signal here, and it has the useful side effect of telling you
 * which board is which from across the room.
 */
static const struct gpio_dt_spec activity_led = GPIO_DT_SPEC_GET(DT_ALIAS(led1), gpios);

/* Provided. enum can_state has no string helper in the Zephyr API, so this is
 * the lab's own. These are the standard CAN error-confinement states, and the
 * parenthetical on each is what it means in this room.
 */
static const char *state_name(enum can_state state)
{
	switch (state) {
	case CAN_STATE_ERROR_ACTIVE:
		return "error-active (bus is healthy - nobody is transmitting)";
	case CAN_STATE_ERROR_WARNING:
		return "error-warning (errors on the wire)";
	case CAN_STATE_ERROR_PASSIVE:
		return "error-passive (errors on the wire)";
	case CAN_STATE_BUS_OFF:
		return "bus-off";
	case CAN_STATE_STOPPED:
		return "stopped - the controller was never started";
	default:
		return "unknown";
	}
}

static const struct device *const can_dev = DEVICE_DT_GET(DT_CHOSEN(zephyr_canbus));

/* Received frames are queued here by the CAN driver so the main loop can
 * pull them off at its own pace. Provided.
 */
/*
 * Depth 16, not 4. Setpoints arrive at a steady 20 Hz, which one frame of
 * queue would absorb - but reconnecting a pulled CAN wire flushes the command
 * node's transmit FIFO in one burst, and a shallow queue drops frames and
 * prints `can_common: Msgq overflowed` the moment the lab starts working
 * again. The lab guide asks you to pull that wire, so the burst is a normal
 * event here rather than an exceptional one.
 */
CAN_MSGQ_DEFINE(setpoint_msgq, 16);

static uint8_t unpack_setpoint(const struct can_frame *frame)
{
	/*
	 * TODO 3c: pull the setpoint back out of the frame.
	 *
	 * The command node put it in data[0]. Check `frame->dlc` is at least
	 * CAN_DLC_SETPOINT first, and fall back to 128 if the frame is
	 * shorter than expected.
	 *
	 * Docs: the `dlc` and `data` fields you are reading here
	 *   https://docs.zephyrproject.org/latest/doxygen/html/structcan__frame.html
	 */
	if (frame->dlc < CAN_DLC_SETPOINT) {
		return 128;
	}

	return frame->data[0];
}

void run_telemetry_node(void)
{
	LOG_INF("Telemetry node starting (PSOC Control CAN lab)");

	/* Provided: the activity LED and the brightness output. The LED starts
	 * dark; the receive loop below blinks it once frames arrive.
	 */
	gpio_pin_configure_dt(&activity_led, GPIO_OUTPUT_INACTIVE);
	lab_led_init();

	/*
	 * TODO 3a: bring up the CAN controller. Four calls, in this order:
	 *
	 *   1. Check the driver initialised, using the generic
	 *      device_is_ready() helper with the CAN device handle can_dev.
	 *      It returns false if the driver did not come up - log an error
	 *      with LOG_ERR() and return if so.
	 *   2. Set the bitrate to CAN_BITRATE.
	 *   3. Set the mode to CAN_MODE_NORMAL.
	 *   4. Start the controller.
	 *
	 * Steps 2-4 are three separate CAN API calls, each taking can_dev as
	 * their first argument. Find their names in the docs below.
	 *
	 * This must match what your partner's command node uses, or the two
	 * boards will not talk to each other.
	 *
	 * Docs: can_set_bitrate(), can_set_mode(), can_start()
	 *   https://docs.zephyrproject.org/latest/doxygen/html/group__can__interface.html
	 * What a CAN controller is doing underneath:
	 *   https://docs.zephyrproject.org/latest/hardware/peripherals/can/controller.html
	 */

	if (!device_is_ready(can_dev)) {
		LOG_ERR("CAN device not ready");
		return;
	}

	can_set_bitrate(can_dev, CAN_BITRATE);
	can_set_mode(can_dev, CAN_MODE_NORMAL);
	can_start(can_dev);

	/*
	 * TODO 3b: tell the driver which frames you care about.
	 *
	 *   1. Declare a `struct can_filter`. Set its id field to
	 *      CAN_ID_SETPOINT (from can_protocol.h) and its mask field to
	 *      CAN_STD_ID_MASK, which means "match that ID exactly".
	 *   2. Register the filter against the message queue, using the CAN
	 *      receive-filter call whose name ends in _msgq. It takes the
	 *      device, the queue (setpoint_msgq, declared above) and your
	 *      filter, and returns a negative value on failure.
	 *
	 * Without a filter the controller receives nothing - this is the
	 * step people most often forget.
	 *
	 * Docs: can_add_rx_filter_msgq() and the filtering model
	 *   https://docs.zephyrproject.org/latest/doxygen/html/group__can__interface.html
	 * The filter you are declaring, field by field:
	 *   https://docs.zephyrproject.org/latest/doxygen/html/structcan__filter.html
	 */


	const struct can_filter setpoint_filter = {
		.id = CAN_ID_SETPOINT,
		.mask = CAN_STD_ID_MASK,
	};

	if (can_add_rx_filter_msgq(can_dev, &setpoint_msgq, &setpoint_filter) < 0) {
		LOG_ERR("Failed to add CAN RX filter");
		return;
	}

	struct can_frame frame;
	bool link_up = false;
	int64_t last_log = 0;
	int64_t last_blink = 0;

	while (1) {
		if (k_msgq_get(&setpoint_msgq, &frame, RX_TIMEOUT) != 0) {
			/* Nothing arrived - hold the last known brightness. */
			if (link_up) {
				LOG_WRN("No setpoint for %d ms - is the command node "
					"powered and wired?",
					(int)k_ticks_to_ms_floor32(RX_TIMEOUT.ticks));
				link_up = false;

				/*
				 * TODO 3d, part 1 of 2: say why the data stopped,
				 * and stop the heartbeat.
				 *
				 *   1. Declare an `enum can_state` and ask the
				 *      controller to fill it in with can_get_state().
				 *      It takes can_dev, a pointer to your state, and
				 *      NULL for the error counters you do not need.
				 *   2. LOG_WRN() the result through the provided
				 *      state_name() helper.
				 *   3. Drive activity_led dark with gpio_pin_set_dt()
				 *      and reset last_blink to 0, so the stall is
				 *      visible from the back of the room as well as
				 *      on the console.
				 *
				 * That first call is the one piece of information
				 * this node cannot get any other way, and it is the
				 * reason it is worth asking for. A receiver never
				 * transmits, so it never collects transmit errors -
				 * pull the bus wires and it stays error-active and
				 * simply hears silence. "The bus looks healthy and
				 * nothing is arriving" and "the bus is in trouble"
				 * are completely different faults that look identical
				 * from here until you ask.
				 *
				 * Docs: can_get_state() and the controller states
				 *   https://docs.zephyrproject.org/latest/doxygen/html/group__can__interface.html
				 * Error confinement, and what each state means:
				 *   https://docs.zephyrproject.org/latest/hardware/peripherals/can/controller.html
				 */

				enum can_state state = CAN_STATE_ERROR_ACTIVE;

				(void)can_get_state(can_dev, &state, NULL);
				LOG_WRN("CAN controller is %s", state_name(state));

				gpio_pin_set_dt(&activity_led, 0);
				last_blink = 0;
			}

			continue;
		}

		uint8_t setpoint = unpack_setpoint(&frame);

		lab_led_set_duty(setpoint);

		if (!link_up) {
			LOG_INF("CAN link up - receiving setpoints");
			link_up = true;
		}

		int64_t now = k_uptime_get();

		/*
		 * TODO 3d, part 2 of 2: blink LED4 while frames are arriving.
		 *
		 * Toggle activity_led with gpio_pin_toggle_dt(), but only once
		 * ACTIVITY_BLINK_MS has passed since the last toggle - compare
		 * `now` against the `last_blink` declared above, exactly the
		 * way the provided console rate-limit below compares against
		 * `last_log`, and update last_blink when you toggle.
		 *
		 * Do not simply toggle once per frame. Setpoints arrive at
		 * 20 Hz, and a 20 Hz toggle reads to the eye as a steady dim
		 * glow rather than as activity - which is exactly the signal
		 * you are trying not to send.
		 *
		 * Docs: gpio_pin_toggle_dt()
		 *   https://docs.zephyrproject.org/latest/doxygen/html/group__gpio__interface.html
		 */

		if (now - last_blink >= ACTIVITY_BLINK_MS) {
			last_blink = now;
			gpio_pin_toggle_dt(&activity_led);
		}

		/* Rate-limited to ~2 Hz so the console stays readable. Until
		 * TODO 3c is done this prints a constant 128 - that is the
		 * placeholder, not a broken bus. Provided.
		 */
		if (now - last_log >= 500) {
			last_log = now;
			LOG_INF("setpoint %u (%u%%)", setpoint, (setpoint * 100U) / 255U);
		}
	}
}
```
